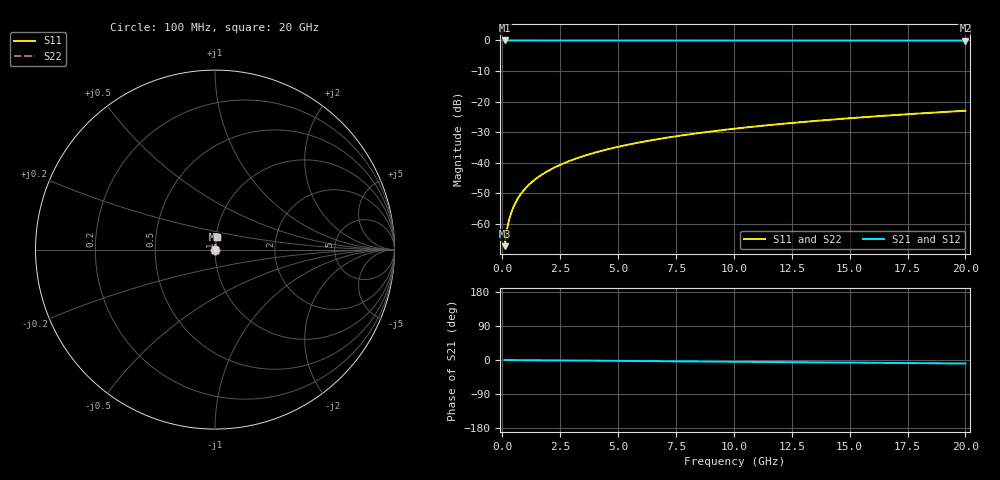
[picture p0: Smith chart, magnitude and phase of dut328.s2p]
! Touchstone file exported from HFSS 2026.1.0
!  File:  C:/ffzhzh/LocalFiles/Ansys_Project_Files/temp_train_TSV_328_1783018479_4048.aedt
!  Generated:  02:56:32 AM Jul  3, 2026
!  Design:  TSV
!  Project:  temp_train_TSV_328_1783018479_4048
! Variables:
!  h_bsmrdl = 2um
!  h_ox = 20um
!  h_rdl = 5um
!  h_sub = 76.14um
!  h_tmrdl = 5um
!  h_tsv = 76.14um
!  h_via = 3um
!  l_bsmrdl = 300um
!  l_sub = 415.6um
!  l_tmrdl = 200um
!  m_sub = 200um
!  pitch = 59.69um
!  r_tsv = 7.8um
!  s_tmrdl = 10um
!  w_bsmrdl = 18um
!  w_sub = 500um
!  w_tmrdl = 12um
!  x_tsv_center1 = 206um
!  x_tsv_center2 = 524um
!  x_tsv_center3 = 736um
!  x_tsv_center4 = 1054um
!  x_tsv_center5 = 1266um
!  x_tsv_center6 = 1584um
# GHz S MA R 50.000000
! Terminal data exported
! Port[1] = TSV1_1_T1
! Port[2] = TSV1_1_T2
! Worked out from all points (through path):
!   200 points, 100 MHz to 20 GHz, reference 50 ohm
!   highest |S21| = 0.00 dB at 100 MHz (marker M1); lowest = 0.0 dB at 20 GHz (marker M2)
!   group delay of S21, straight-line fit = 1.27 ps
!   lowest |S11| = -67.3 dB at 100 MHz (marker M3), VSWR 1.00, Z = 50 + j0.0396 ohm
!   |S11| at or under -10 dB: start of sweep to end of sweep
!   |S22| runs from -67.3 to -23.0 dB; largest |S21 - S12| = 2e-15
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0.1  0.0004338 66.0  0.9998 -0.0  0.9998 -0.0  0.0004338 66.0
! Gamma 0 0 0 0
! Port Impedance 50 0 50 0
0.2  0.0008124 76.7  0.9998 -0.1  0.9998 -0.1  0.0008124 76.7
0.3  0.001199 80.3  0.9998 -0.1  0.9998 -0.1  0.001199 80.3
0.4  0.001585 82.0  0.9998 -0.2  0.9998 -0.2  0.001585 82.0
0.5  0.001967 82.9  0.9998 -0.2  0.9998 -0.2  0.001967 82.9
0.6  0.002346 83.4  0.9997 -0.3  0.9997 -0.3  0.002346 83.4
0.7  0.002721 83.8  0.9997 -0.3  0.9997 -0.3  0.002721 83.8
0.8  0.003093 84.1  0.9997 -0.4  0.9997 -0.4  0.003093 84.1
1  0.00383 84.5  0.9997 -0.5  0.9997 -0.5  0.00383 84.5
1.4  0.005287 85.1  0.9996 -0.7  0.9996 -0.7  0.005287 85.1
1.7  0.006374 85.3  0.9995 -0.8  0.9995 -0.8  0.006374 85.3
2  0.007458 85.5  0.9995 -0.9  0.9995 -0.9  0.007458 85.5
2.7  0.009985 85.7  0.9994 -1.3  0.9994 -1.3  0.009985 85.7
3.5  0.01287 85.7  0.9993 -1.6  0.9993 -1.6  0.01287 85.7
4.2  0.01538 85.6  0.9992 -2.0  0.9992 -2.0  0.01538 85.6
5  0.01824 85.5  0.9991 -2.3  0.9991 -2.3  0.01824 85.5
6.8  0.02466 84.9  0.9989 -3.1  0.9989 -3.1  0.02466 84.9
8.3  0.02998 84.4  0.9986 -3.8  0.9986 -3.8  0.02998 84.4
10.1  0.03635 83.7  0.9983 -4.7  0.9983 -4.7  0.03635 83.7
13.4  0.04796 82.4  0.9977 -6.2  0.9977 -6.2  0.04796 82.4
16.7  0.0595 81.1  0.9969 -7.7  0.9969 -7.7  0.0595 81.1
20  0.07093 79.7  0.9961 -9.2  0.9961 -9.2  0.07093 79.7
